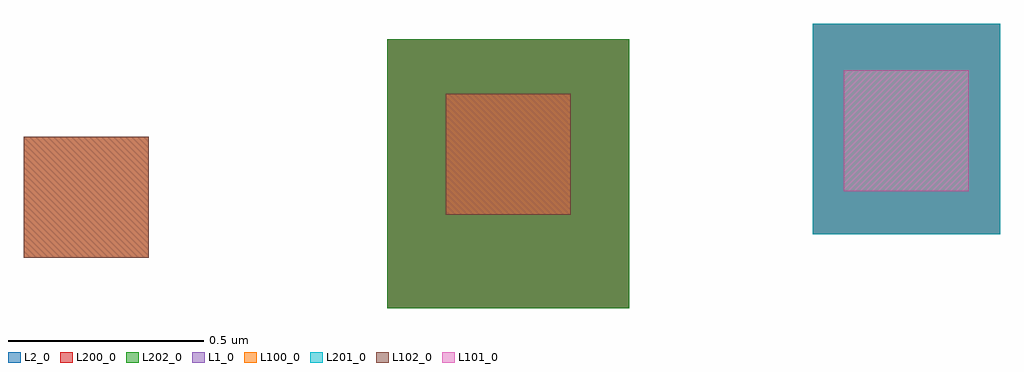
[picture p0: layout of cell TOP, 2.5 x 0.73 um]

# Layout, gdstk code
from math import pi, radians
import gdstk
lib = gdstk.Library(unit=1e-6, precision=1e-09)
def R(c, l, rs):  # rectangles x0, y0, x1, y1
    for r in rs: c.add(gdstk.rectangle(r[:2], r[2:], *l))
L1_0 = (1, 0)
L2_0 = (2, 0)
L100_0 = (100, 0)
L101_0 = (101, 0)
L102_0 = (102, 0)
L200_0 = (200, 0)
L201_0 = (201, 0)
L202_0 = (202, 0)

l14_1 = lib.new_cell('L14$1')
R(l14_1, L1_0, [(-0.08,-0.08,0.23,0.24)])
R(l14_1, L100_0, [(-0.08,-0.08,0.23,0.24)])
R(l14_1, L101_0, [(-0.08,-0.08,0.23,0.24)])

c_y = lib.new_cell('Y')
R(c_y, L2_0, [(-0.19,0.15,0.29,0.69)])
R(c_y, L200_0, [(-0.19,0.15,0.29,0.69)])
R(c_y, L201_0, [(-0.19,0.15,0.29,0.69)])
r = gdstk.Reference(l14_1, (0.13,0.34), rotation=pi/2); r.repetition = gdstk.Repetition(1, 1, v1=(0,0), v2=(0,0)); c_y.add(r)

l14_dis = lib.new_cell('L14$DIS')
R(l14_dis, L1_0, [(-0.08,-0.08,0.23,0.24)])
R(l14_dis, L100_0, [(-0.08,-0.08,0.23,0.24)])

l14 = lib.new_cell('L14')
R(l14, L102_0, [(-0.08,-0.08,0.23,0.24)])

c_c2 = lib.new_cell('C2')
R(c_c2, L2_0, [(-0.97,-1.31,-0.28,-0.69)])
R(c_c2, L200_0, [(-0.97,-1.31,-0.28,-0.69)])
R(c_c2, L202_0, [(-0.97,-1.31,-0.28,-0.69)])
r = gdstk.Reference(l14_dis, (-0.65,-1.08)); r.repetition = gdstk.Repetition(1, 1, v1=(0,0), v2=(0,0)); c_c2.add(r)
r = gdstk.Reference(l14, (-0.65,-1.08)); r.repetition = gdstk.Repetition(1, 1, v1=(0,0), v2=(0,0)); c_c2.add(r)

c_c1 = lib.new_cell('C1')
r = gdstk.Reference(l14_dis, (0.06,0.18)); r.repetition = gdstk.Repetition(1, 1, v1=(0,0), v2=(0,0)); c_c1.add(r)
r = gdstk.Reference(l14, (0.06,0.18)); r.repetition = gdstk.Repetition(1, 1, v1=(0,0), v2=(0,0)); c_c1.add(r)

c_x = lib.new_cell('X')
r = gdstk.Reference(c_c2, (0.65,1.29), rotation=pi/2); r.repetition = gdstk.Repetition(1, 1, v1=(0,0), v2=(0,0)); c_x.add(r)
r = gdstk.Reference(c_c1, (0.83,0.47), rotation=pi/2); r.repetition = gdstk.Repetition(1, 1, v1=(0,0), v2=(0,0)); c_x.add(r)

top = lib.new_cell('TOP')
top.add(gdstk.Reference(c_y, (1.02,-0.19)))
top.add(gdstk.Reference(c_x, (-1.6,-0.55)))

lib.write_gds('TOP.gds')
